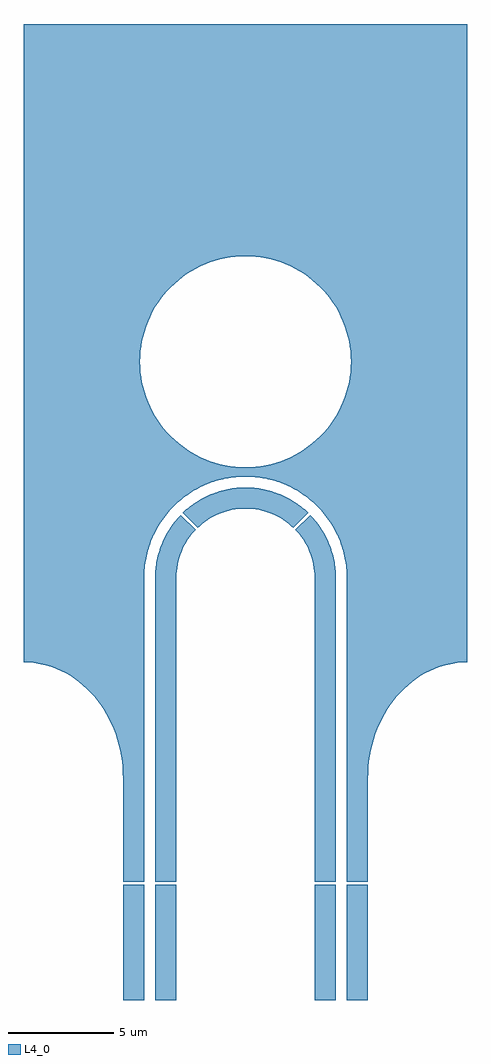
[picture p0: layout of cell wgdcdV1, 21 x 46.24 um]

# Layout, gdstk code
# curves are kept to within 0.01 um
import gdstk
lib = gdstk.Library(unit=1e-6, precision=1e-09)
def R(c, l, rs):  # rectangles x0, y0, x1, y1
    for r in rs: c.add(gdstk.rectangle(r[:2], r[2:], *l))
def P(c, l, *ps):  # polygons
    for p in ps: c.add(gdstk.Polygon(p, *l))
L4_0 = (4, 0)

wgdcdv1 = lib.new_cell('wgdcdV1')
R(wgdcdv1, L4_0, [(-5.8,-30.24,-4.8,-24.78), (-4.28,-30.24,-3.28,-24.78), (3.28,-30.24,4.28,-24.78), (4.8,-30.24,5.8,-24.78)])
P(wgdcdv1, L4_0, [(3.28,-24.64),(3.276,-10.079),(3.244,-9.759),(3.182,-9.443),(3.03,-8.985),(2.893,-8.694),(2.727,-8.418),(2.535,-8.159),(2.368,-7.971),(3.075,-7.264),(3.308,-7.525),(3.559,-7.862),(3.775,-8.222),(3.954,-8.602),(4.096,-8.998),(4.198,-9.405),(4.248,-9.716),(4.279,-10.135),(4.28,-24.64)],
  [(-4.28,-24.64),(-4.28,-10.24),(-4.268,-9.925),(-4.234,-9.612),(-4.152,-9.2),(-4.03,-8.798),(-3.913,-8.506),(-3.775,-8.222),(-3.559,-7.862),(-3.308,-7.525),(-3.075,-7.264),(-2.368,-7.971),(-2.535,-8.159),(-2.727,-8.418),(-2.893,-8.694),(-3.03,-8.985),(-3.182,-9.443),(-3.244,-9.759),(-3.276,-10.079),(-3.28,-24.64)],
  [(-2.269,-7.872),(-2.976,-7.165),(-2.55,-6.802),(-2.29,-6.624),(-1.924,-6.417),(-1.638,-6.286),(-1.343,-6.176),(-1.04,-6.088),(-0.628,-6.006),(-0.105,-5.961),(0.42,-5.981),(0.835,-6.042),(1.343,-6.176),(1.83,-6.371),(2.2,-6.569),(2.55,-6.802),(2.976,-7.165),(2.269,-7.872),(1.954,-7.605),(1.686,-7.427),(1.402,-7.275),(0.952,-7.101),(0.64,-7.023),(0.161,-6.964),(-0.161,-6.964),(-0.481,-6.996),(-0.952,-7.101),(-1.402,-7.275),(-1.822,-7.513),(-2.081,-7.705)],
  [(-5.8,-24.64),(-5.8,-19.74),(-5.823,-19.201),(-5.89,-18.667),(-6.002,-18.143),(-6.158,-17.635),(-6.355,-17.147),(-6.592,-16.684),(-6.867,-16.251),(-7.018,-16.046),(-7.177,-15.851),(-7.518,-15.488),(-7.7,-15.322),(-8.084,-15.022),(-8.284,-14.889),(-8.701,-14.659),(-9.136,-14.477),(-9.358,-14.405),(-9.583,-14.346),(-10.039,-14.266),(-10.5,-14.24),(-10.5,-5),(0,-5),(0.49,-4.976),(0.734,-4.946),(1.215,-4.85),(1.684,-4.708),(2.138,-4.52),(2.571,-4.289),(2.978,-4.016),(3.172,-3.865),(3.536,-3.536),(3.705,-3.358),(4.016,-2.978),(4.289,-2.571),(4.52,-2.138),(4.708,-1.684),(4.785,-1.451),(4.904,-0.975),(4.946,-0.734),(4.994,-0.245),(5,0),(4.976,0.49),(4.904,0.975),(4.785,1.451),(4.708,1.684),(4.52,2.138),(4.289,2.571),(4.016,2.978),(3.865,3.172),(3.536,3.536),(3.172,3.865),(2.978,4.016),(2.571,4.289),(2.138,4.52),(1.684,4.708),(1.451,4.785),(0.975,4.904),(0.49,4.976),(0.245,4.994),(-0.245,4.994),(-0.734,4.946),(-1.215,4.85),(-1.684,4.708),(-2.138,4.52),(-2.571,4.289),(-2.978,4.016),(-3.172,3.865),(-3.536,3.536),(-3.705,3.358),(-4.016,2.978),(-4.289,2.571),(-4.52,2.138),(-4.708,1.684),(-4.785,1.451),(-4.904,0.975),(-4.946,0.734),(-4.994,0.245),(-4.994,-0.245),(-4.946,-0.734),(-4.904,-0.975),(-4.785,-1.451),(-4.619,-1.913),(-4.41,-2.357),(-4.157,-2.778),(-3.865,-3.172),(-3.536,-3.536),(-3.358,-3.705),(-2.978,-4.016),(-2.571,-4.289),(-2.138,-4.52),(-1.684,-4.708),(-1.215,-4.85),(-0.734,-4.946),(-0.49,-4.976),(0,-5),(-10.5,-5),(-10.5,16),(10.5,16),(10.5,-14.24),(10.039,-14.266),(9.583,-14.346),(9.358,-14.405),(9.136,-14.477),(8.701,-14.659),(8.284,-14.889),(8.084,-15.022),(7.7,-15.322),(7.344,-15.665),(7.018,-16.046),(6.867,-16.251),(6.592,-16.684),(6.355,-17.147),(6.251,-17.388),(6.075,-17.887),(6.002,-18.143),(5.89,-18.667),(5.823,-19.201),(5.8,-19.74),(5.8,-24.64),(4.8,-24.64),(4.799,-10.122),(4.764,-9.652),(4.708,-9.304),(4.593,-8.847),(4.435,-8.403),(4.233,-7.977),(3.924,-7.476),(3.635,-7.105),(3.223,-6.683),(2.859,-6.385),(2.468,-6.123),(2.052,-5.901),(1.506,-5.682),(0.936,-5.532),(0.47,-5.463),(-0.118,-5.441),(-0.588,-5.476),(-1.166,-5.584),(-1.617,-5.721),(-2.052,-5.901),(-2.568,-6.185),(-2.953,-6.456),(-3.31,-6.764),(-3.635,-7.105),(-3.991,-7.573),(-4.233,-7.977),(-4.435,-8.403),(-4.626,-8.96),(-4.729,-9.419),(-4.777,-9.77),(-4.8,-10.24),(-4.8,-24.64)])

lib.write_gds('wgdcdV1.gds')
